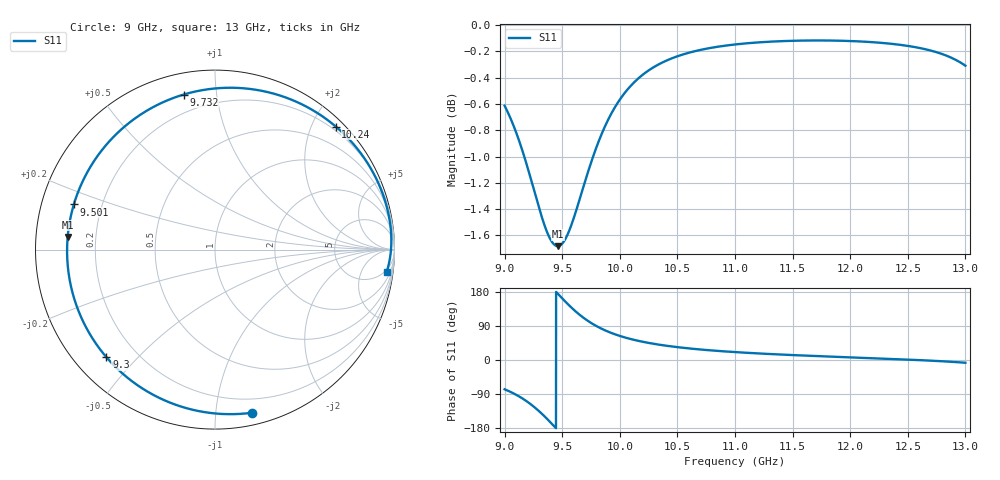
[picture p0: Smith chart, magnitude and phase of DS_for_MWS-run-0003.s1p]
! TOUCHSTONE file generated by CST DESIGN STUDIO
! Date and time: Tue Feb  4 17:36:20 2025
! Project name: C:\Work\MatlabApps\UnitCellOptimizationMatlab\CST\unitcell.cst
! Tree item: Tasks\Sweep1\SPara1\S-Parameters
! Header version: 2024
! Port assignment regex: !\s*Touchstone port\s*([0-9]+)\s*=\s*(CST MWS port|CST DES external port|CST DES block port)\s*(.+)\s* \(\"(.*)\"\)(\s*mode\s*([0-9]+))?.*
! Touchstone port assignment:
! Touchstone port 1 = CST DES external port 1 ("")
# GHz S MA R 50
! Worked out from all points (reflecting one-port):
!   4001 points, 9 GHz to 13 GHz, reference 50 ohm
!   lowest |S11| = -1.7 dB at 9.461 GHz (marker M1), VSWR 10.35, Z = 4.84 + j2.1 ohm
!   phase of S11 starts at -77 deg and turns -290 deg over the sweep
!   S11 on the Smith chart (normalised r, x): 9 GHz: 0.09, -1.25; 9.3 GHz: 0.09, -0.41; 9.501 GHz: 0.10, +0.15; 9.732 GHz: 0.10, +0.81; 10.24 GHz: 0.13, +2.38; 13 GHz: 4, -15
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9  0.9318 -77.3
9.028  0.9264 -80.9
9.093  0.912 -90.6
9.168  0.892 -104.1
9.236  0.8713 -118.9
9.3  0.8517 -135.3
9.346  0.8392 -148.5
9.386  0.8307 -160.8
9.424  0.8256 -172.9
9.461  0.8238 175.1
9.5  0.8257 162.6
9.501  0.8258 162.3
9.561  0.8351 143.8
9.616  0.8486 128.3
9.672  0.8644 114.4
9.732  0.8815 101.4
9.793  0.8975 90.2
9.864  0.9136 79.4
10  0.9368 63.5
10.113  0.9501 53.9
10.242  0.9606 45.5
10.5  0.9732 33.9
10.723  0.9791 27.1
11  0.9833 20.9
11.5  0.9865 13.0
12  0.9863 7.0
12.5  0.982 1.1
13  0.9651 -7.3
